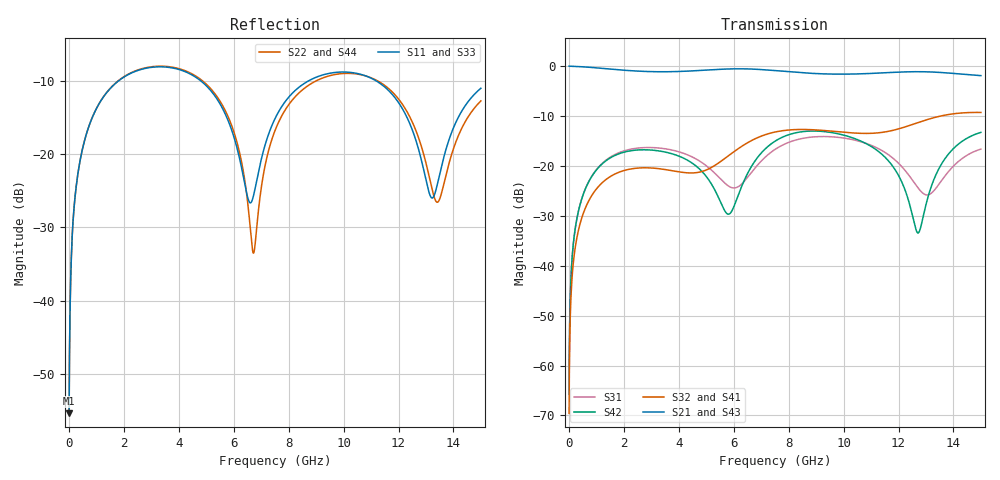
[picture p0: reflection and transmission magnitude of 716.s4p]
! Created with skrf 1.8.0 (http://scikit-rf.org).
# GHz S RI R 50.0
!freq ReS11 ImS11 ReS12 ImS12 ReS13 ImS13
! ReS14 ImS14
! ReS21 ImS21 ReS22 ImS22 ReS23 ImS23
! ReS24 ImS24
! ReS31 ImS31 ReS32 ImS32 ReS33 ImS33
! ReS34 ImS34
! ReS41 ImS41 ReS42 ImS42 ReS43 ImS43
! ReS44 ImS44
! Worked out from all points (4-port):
!   2499 points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, 5 MHz to 15 GHz, reference 50 ohm
!   strongest paths, dB at 5 MHz, 3.476 GHz, 7.19 GHz, 11.1 GHz, 15 GHz:
!     S21: 0.0, -1.1, -0.8, -1.4, -1.9
!     S43: 0.0, -1.1, -0.8, -1.4, -1.9
!     S32: -69.6, -20.7, -13.7, -13.4, -9.3
!     S41: -69.6, -20.8, -13.7, -13.6, -9.3
!     S42: -65.7, -17.2, -16.4, -16.4, -13.3
!     S31: -65.7, -16.5, -18.0, -16.1, -16.6
!   lowest |S11| = -55.4 dB at 5 MHz (marker M1), VSWR 1.00, Z = 50.1 + j0.103 ohm
!   |S11| at or under -10 dB: start of sweep to 1.799 GHz; 4.805 GHz to 8.717 GHz (3.912 GHz wide, 57.9 % of centre); 11.19 GHz to end of sweep
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0.005  0.00135 0.00103  0.9986 -0.00263  6.65e-05 0.000516  -6.46e-05 -0.000326
       0.9986 -0.00263  0.00135 0.00103  -6.46e-05 -0.000326  6.63e-05 0.000516
       6.65e-05 0.000516  -6.46e-05 -0.000326  0.00135 0.00103  0.9986 -0.00263
       -6.46e-05 -0.000326  6.63e-05 0.000516  0.9986 -0.00263  0.00135 0.00103
0.3626511  0.0216 0.0787  0.9703 -0.19  0.0101 0.0356  -0.00811 -0.0224
           0.9703 -0.19  0.0217 0.0787  -0.00812 -0.0224  0.00931 0.0358
           0.0101 0.0356  -0.00812 -0.0224  0.0216 0.0787  0.9703 -0.19
           -0.00811 -0.0224  0.00931 0.0358  0.9703 -0.19  0.0217 0.0787
1.67  0.2328 0.1919  0.6243 -0.6831  0.1147 0.0613  -0.0809 -0.018
      0.6243 -0.6831  0.2359 0.1903  -0.081 -0.0179  0.1043 0.0729
      0.1147 0.0613  -0.081 -0.0179  0.2328 0.192  0.6243 -0.6831
      -0.0809 -0.018  0.1043 0.0729  0.6243 -0.6831  0.236 0.1903
6.67153  0.0475 0.00944  -0.9329 -0.0451  -0.043 0.0768  -0.00606 0.1807
         -0.9329 -0.0451  0.0204 -0.0105  -0.00319 0.181  0.0512 0.0877
         -0.043 0.0768  -0.00319 0.181  0.0469 0.00771  -0.9329 -0.0453
         -0.00606 0.1807  0.0512 0.0877  -0.9329 -0.0453  0.0215 -0.0118
10.75448  0.3289 -0.1046  0.1593 0.8241  0.1304 -0.1099  0.184 -0.0985
          0.1593 0.8241  0.3329 -0.0884  0.1831 -0.1063  0.1406 -0.0973
          0.1304 -0.1099  0.1831 -0.1063  0.3285 -0.0993  0.1606 0.8239
          0.184 -0.0985  0.1406 -0.0973  0.1606 0.8239  0.3329 -0.0947
12.71155  0.0721 -0.0847  0.7877 0.3905  -0.049 -0.0351  0.1169 -0.2452
          0.7877 0.3905  0.08 -0.1057  0.1061 -0.2503  0.0213 -0.00136
          -0.049 -0.0351  0.1061 -0.2503  0.0787 -0.0822  0.7884 0.3886
          0.1169 -0.2452  0.0213 -0.00136  0.7884 0.3886  0.0745 -0.1096
15  0.2374 0.1522  0.6486 -0.4728  0.128 0.0733  -0.2379 -0.2457
    0.6486 -0.4728  0.187 0.1359  -0.2487 -0.2367  0.2156 0.0234
    0.128 0.0733  -0.2487 -0.2367  0.2384 0.1471  0.6469 -0.4753
    -0.2379 -0.2457  0.2156 0.0234  0.6469 -0.4753  0.1872 0.1368
